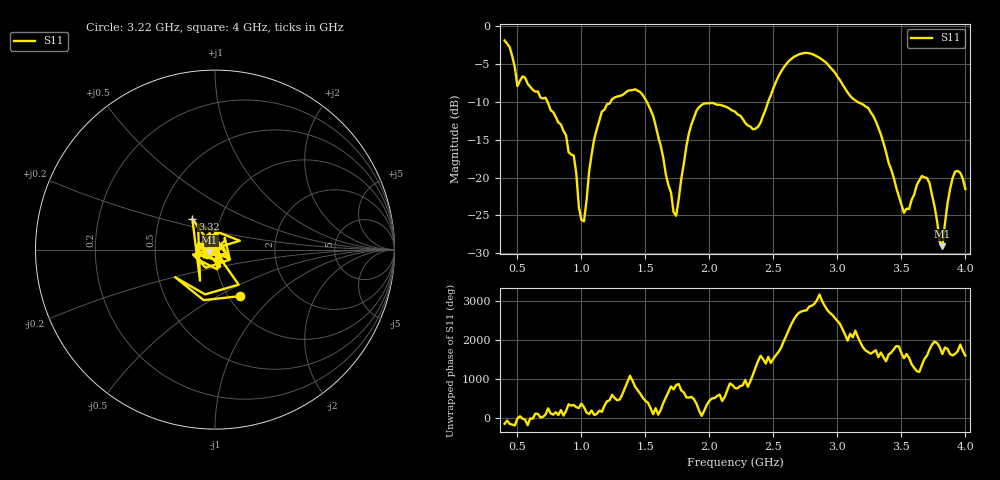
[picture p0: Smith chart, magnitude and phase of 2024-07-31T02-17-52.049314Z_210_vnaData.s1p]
!Created with skrf (http://scikit-rf.org).
# Hz S RI R 50.0
!freq ReS11 ImS11
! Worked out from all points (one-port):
!   181 points, 400 MHz to 4 GHz, reference 50 ohm
!   lowest |S11| = -29.1 dB at 3.82 GHz (marker M1), VSWR 1.07, Z = 46.9 - j1.34 ohm
!   |S11| at or under -10 dB: 735.4 MHz to 1.228 GHz (492.1 MHz wide, 50.1 % of centre); 1.511 GHz to 2.459 GHz (947.6 MHz wide, 47.7 % of centre); 3.158 GHz to end of sweep
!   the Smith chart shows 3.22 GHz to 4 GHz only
!   S11 on the Smith chart (normalised r, x): 3.22 GHz: 1.13, -0.64; 3.32 GHz: 0.73, +0.27; 4 GHz: 0.85, +0.03
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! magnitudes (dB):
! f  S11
! 400 MHz  -1.9
! 500 MHz  -7.9
! 560 MHz  -6.8
! 860 MHz  -13.8
! 940 MHz  -17.1
! 980 MHz  -23.9
! 1.02 GHz  -25.8
! 1.08 GHz  -16.9
! 1.14 GHz  -12.4
! 1.3 GHz  -9.2
! 1.5 GHz  -9.6
! 1.72 GHz  -24.6
! 1.76 GHz  -22.9
! 1.84 GHz  -14.2
! 1.9 GHz  -11.1
! 2.2 GHz  -11.3
! 2.38 GHz  -13.3
! 2.66 GHz  -4.0
! 2.86 GHz  -4.1
! 3.1 GHz  -9.2
! 3.22 GHz  -10.6
! 3.32 GHz  -13.4
! 3.52 GHz  -24.7
! 3.56 GHz  -24.2
! 3.7 GHz  -20.1
! 3.82 GHz  -29.1
! 3.92 GHz  -19.2
! 4 GHz  -21.5
